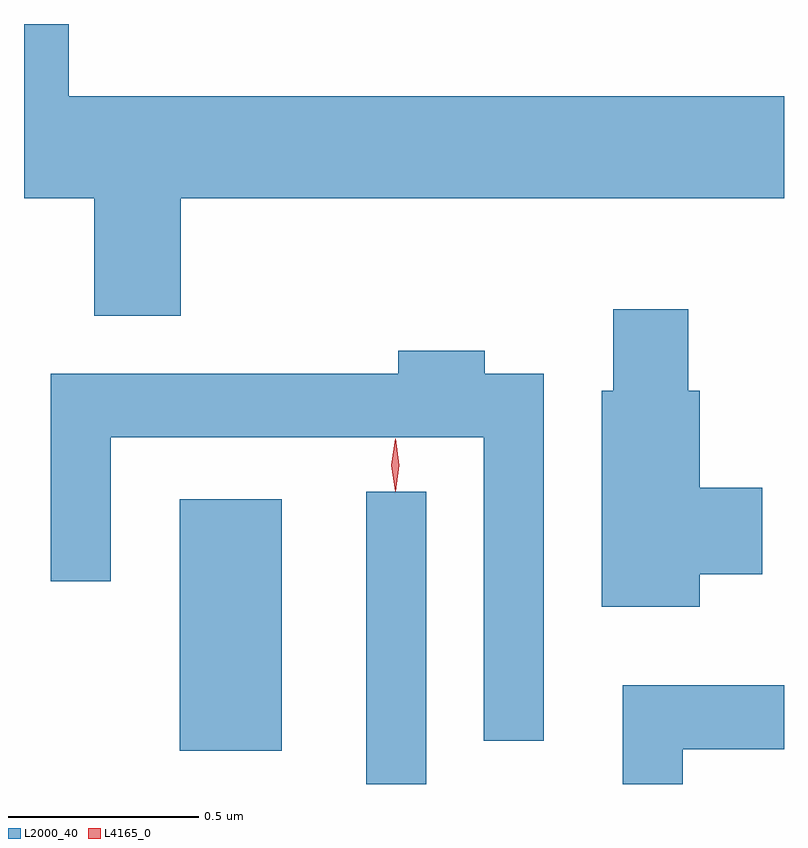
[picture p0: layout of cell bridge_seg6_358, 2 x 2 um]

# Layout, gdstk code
import gdstk
lib = gdstk.Library(unit=1e-6, precision=1e-09)
def R(c, l, rs):  # rectangles x0, y0, x1, y1
    for r in rs: c.add(gdstk.rectangle(r[:2], r[2:], *l))
def P(c, l, *ps):  # polygons
    for p in ps: c.add(gdstk.Polygon(p, *l))
L2000_40 = (2000, 40)
L4165_0 = (4165, 0)

bridge_seg6_358 = lib.new_cell('bridge_seg6_358')
R(bridge_seg6_358, L2000_40, [(1295.046,1550.714,1295.204,1551.483), (1294.556,1550.801,1294.824,1551.464)])
P(bridge_seg6_358, L2000_40, [(1294.559,1552.256),(1296.146,1552.256),(1296.146,1552.524),(1294.264,1552.524),(1294.264,1552.714),(1294.146,1552.714),(1294.146,1552.256),(1294.331,1552.256),(1294.331,1551.946),(1294.559,1551.946)],
  [(1295.924,1551.266),(1296.089,1551.266),(1296.089,1551.494),(1295.924,1551.494),(1295.924,1551.749),(1295.894,1551.749),(1295.894,1551.964),(1295.696,1551.964),(1295.696,1551.749),(1295.666,1551.749),(1295.666,1551.181),(1295.924,1551.181)],
  [(1295.514,1551.794),(1295.359,1551.794),(1295.359,1551.854),(1295.131,1551.854),(1295.131,1551.794),(1294.216,1551.794),(1294.216,1551.248),(1294.374,1551.248),(1294.374,1551.626),(1295.356,1551.626),(1295.356,1550.828),(1295.514,1550.828)],
  [(1295.879,1550.806),(1296.146,1550.806),(1296.146,1550.974),(1295.721,1550.974),(1295.721,1550.714),(1295.879,1550.714)])
P(bridge_seg6_358, L4165_0, [(1295.123,1551.483),(1295.123,1551.484),(1295.113,1551.553),(1295.123,1551.622),(1295.123,1551.623),(1295.124,1551.622),(1295.133,1551.553),(1295.124,1551.484)])

lib.write_gds('bridge_seg6_358.gds')
